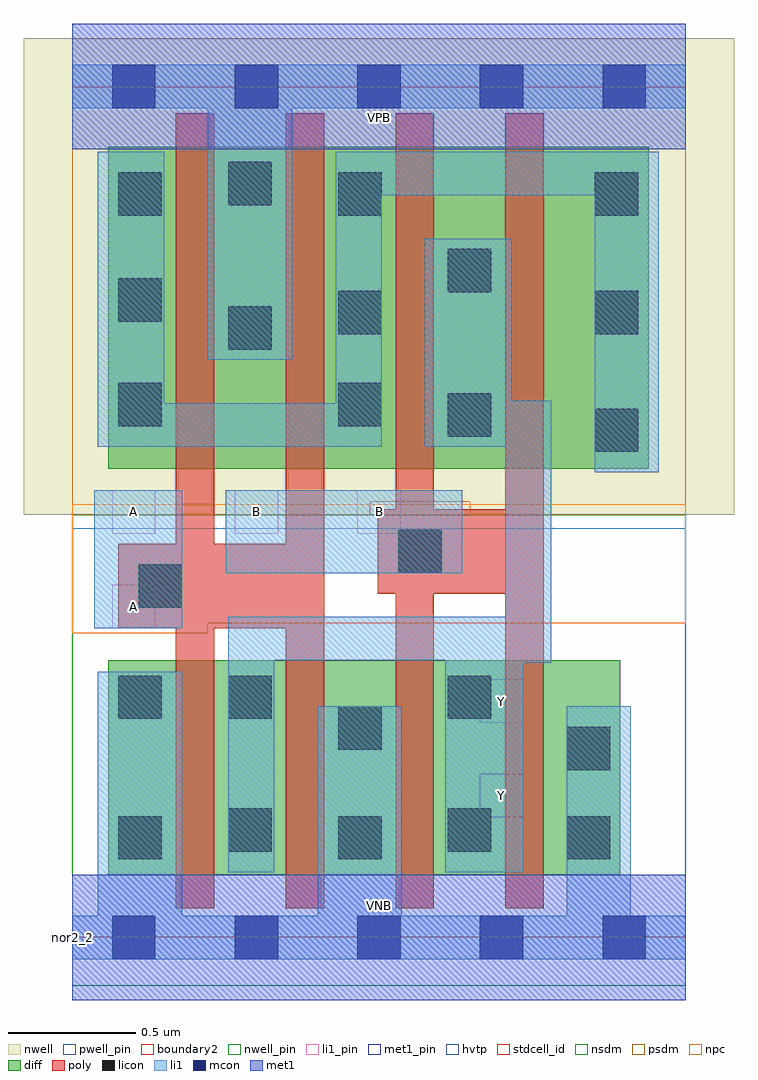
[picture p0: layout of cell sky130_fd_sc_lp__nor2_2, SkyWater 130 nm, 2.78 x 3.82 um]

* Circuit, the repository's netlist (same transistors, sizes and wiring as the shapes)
* Copyright 2020 The SkyWater PDK Authors
*
* Licensed under the Apache License, Version 2.0 (the "License");
* you may not use this file except in compliance with the License.
* You may obtain a copy of the License at
*
*     https://www.apache.org/licenses/LICENSE-2.0
*
* Unless required by applicable law or agreed to in writing, software
* distributed under the License is distributed on an "AS IS" BASIS,
* WITHOUT WARRANTIES OR CONDITIONS OF ANY KIND, either express or implied.
* See the License for the specific language governing permissions and
* limitations under the License.
*
* SPDX-License-Identifier: Apache-2.0

.SUBCKT sky130_fd_sc_lp__nor2_2 A B VGND VNB VPB VPWR Y
*.PININFO A:I B:I VGND:I VNB:I VPB:I VPWR:I Y:O
MMP0 VPWR A sndPA VPB sky130_fd_pr__pfet_01v8_hvt m=2 w=1.26U l=0.15U mult=1 sa=0.265
+ sb=0.265 sd=0.28 area=0.063 perim=1.14
MMP1 sndPA B Y VPB sky130_fd_pr__pfet_01v8_hvt m=2 w=1.26U l=0.15U mult=1 sa=0.265
+ sb=0.265 sd=0.28 area=0.063 perim=1.14
MMN0 Y A VGND VNB sky130_fd_pr__nfet_01v8 m=2 w=0.84U l=0.15U mult=1 sa=0.265 sb=0.265
+ sd=0.28 area=0.063 perim=1.14
MMN1 Y B VGND VNB sky130_fd_pr__nfet_01v8 m=2 w=0.84U l=0.15U mult=1 sa=0.265 sb=0.265
+ sd=0.28 area=0.063 perim=1.14
.ENDS sky130_fd_sc_lp__nor2_2

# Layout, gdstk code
import gdstk
lib = gdstk.Library(unit=1e-6, precision=1e-09)
def R(c, l, rs):  # rectangles x0, y0, x1, y1
    for r in rs: c.add(gdstk.rectangle(r[:2], r[2:], *l))
def A(c, l, x, y, w, h, nx, ny, dx, dy):  # array of equal rectangles
    R(c, l, [(x+i*dx, y+j*dy, x+i*dx+w, y+j*dy+h) for i in range(nx) for j in range(ny)])
def P(c, l, *ps):  # polygons
    for p in ps: c.add(gdstk.Polygon(p, *l))
nwell_pin = (64, 16)
nwell = (64, 20)
diff = (65, 20)
poly = (66, 20)
licon = (66, 44)
li1_pin = (67, 16)
li1 = (67, 20)
mcon = (67, 44)
met1_pin = (68, 16)
met1 = (68, 20)
hvtp = (78, 44)
stdcell_id = (81, 4)
nsdm = (93, 44)
psdm = (94, 20)
npc = (95, 20)
pwell_pin = (122, 16)
boundary2 = (236, 0)

sky130_fd_sc_lp__nor2_2 = lib.new_cell('sky130_fd_sc_lp__nor2_2')
R(sky130_fd_sc_lp__nor2_2, nwell_pin, [(0,3.085,2.4,3.33)])
R(sky130_fd_sc_lp__nor2_2, nwell, [(-0.19,1.655,2.59,3.52)])
R(sky130_fd_sc_lp__nor2_2, diff, [(0.14,0.245,2.145,1.085), (0.14,1.835,2.255,3.095)])
P(sky130_fd_sc_lp__nor2_2, poly, [(0.985,3.225),(0.835,3.225),(0.835,1.54),(0.555,1.54),(0.555,3.225),(0.405,3.225),(0.405,1.54),(0.18,1.54),(0.18,1.21),(0.405,1.21),(0.405,0.115),(0.555,0.115),(0.555,1.21),(0.835,1.21),(0.835,0.115),(0.985,0.115)],
  [(1.845,3.225),(1.695,3.225),(1.695,1.675),(1.415,1.675),(1.415,3.225),(1.265,3.225),(1.265,1.675),(1.195,1.675),(1.195,1.345),(1.265,1.345),(1.265,0.115),(1.415,0.115),(1.415,1.345),(1.695,1.345),(1.695,0.115),(1.845,0.115)])
R(sky130_fd_sc_lp__nor2_2, licon, [(0.18,0.305,0.35,0.475), (1.04,0.305,1.21,0.475), (1.935,0.305,2.105,0.475), (0.61,0.335,0.78,0.505), (1.47,0.335,1.64,0.505), (1.935,0.655,2.105,0.825), (1.04,0.735,1.21,0.905), (0.18,0.855,0.35,1.025), (0.61,0.855,0.78,1.025), (1.47,0.855,1.64,1.025), (0.26,1.29,0.43,1.46), (1.275,1.425,1.445,1.595), (2.045,1.9,2.215,2.07), (1.47,1.96,1.64,2.13), (0.18,2,0.35,2.17), (1.04,2,1.21,2.17), (0.61,2.3,0.78,2.47), (1.04,2.36,1.21,2.53), (2.045,2.36,2.215,2.53), (0.18,2.41,0.35,2.58), (1.47,2.525,1.64,2.695), (0.18,2.825,0.35,2.995), (1.04,2.825,1.21,2.995), (2.045,2.825,2.215,2.995), (0.61,2.865,0.78,3.035)])
A(sky130_fd_sc_lp__nor2_2, li1_pin, 0.155, 1.58, 0.17, 0.17, 3, 1, 0.48, 0)
R(sky130_fd_sc_lp__nor2_2, li1_pin, [(1.595,0.47,1.765,0.64), (1.595,0.84,1.765,1.01), (0.155,1.21,0.325,1.38)])
R(sky130_fd_sc_lp__nor2_2, li1, [(0.085,1.21,0.43,1.75), (0.6,1.425,1.525,1.75)])
P(sky130_fd_sc_lp__nor2_2, li1, [(0.53,2.26),(0.53,3.245),(0,3.245),(0,3.415),(2.4,3.415),(2.4,3.245),(0.86,3.245),(0.86,2.26)],
  [(1.935,0.085),(1.935,0.905),(2.185,0.905),(2.185,0.085),(2.4,0.085),(2.4,-0.085),(0,-0.085),(0,0.085),(0.1,0.085),(0.1,1.04),(0.43,1.04),(0.43,0.085),(0.96,0.085),(0.96,0.905),(1.29,0.905),(1.29,0.085)],
  [(1.46,0.255),(1.46,1.085),(0.79,1.085),(0.79,0.255),(0.61,0.255),(0.61,1.255),(1.695,1.255),(1.695,1.92),(1.38,1.92),(1.38,2.735),(1.72,2.735),(1.72,2.1),(1.875,2.1),(1.875,1.075),(1.765,1.075),(1.765,0.255)],
  [(2.045,2.905),(1.21,2.905),(1.21,1.92),(0.1,1.92),(0.1,3.075),(0.36,3.075),(0.36,2.09),(1.03,2.09),(1.03,3.075),(2.295,3.075),(2.295,1.82),(2.045,1.82)])
A(sky130_fd_sc_lp__nor2_2, mcon, 0.155, -0.085, 0.17, 0.17, 5, 2, 0.48, 3.33)
R(sky130_fd_sc_lp__nor2_2, met1_pin, [(0,0,2.4,0.245), (0,3.085,2.4,3.33)])
R(sky130_fd_sc_lp__nor2_2, met1, [(0,-0.245,2.4,0.245), (0,3.085,2.4,3.575)])
R(sky130_fd_sc_lp__nor2_2, hvtp, [(0,1.6,2.4,3.33)])
R(sky130_fd_sc_lp__nor2_2, stdcell_id, [(0,0,2.4,3.33)])
R(sky130_fd_sc_lp__nor2_2, nsdm, [(0,-0.19,2.4,1.655)])
P(sky130_fd_sc_lp__nor2_2, psdm, [(2.4,3.52),(0,3.52),(0,1.655),(1.165,1.655),(1.165,1.705),(1.555,1.705),(1.555,1.655),(2.4,1.655)])
P(sky130_fd_sc_lp__nor2_2, npc, [(2.4,1.695),(0,1.695),(0,1.19),(0.53,1.19),(0.53,1.23),(2.4,1.23)])
R(sky130_fd_sc_lp__nor2_2, pwell_pin, [(0,0,2.4,0.245)])
R(sky130_fd_sc_lp__nor2_2, boundary2, [(0,0,2.4,3.33)])
sky130_fd_sc_lp__nor2_2.add(gdstk.Label('VNB', (1.2,0.123), layer=64, texttype=59))
sky130_fd_sc_lp__nor2_2.add(gdstk.Label('VPB', (1.2,3.208), layer=64, texttype=5))
sky130_fd_sc_lp__nor2_2.add(gdstk.Label('nor2_2', (0,0), layer=83, texttype=44))
sky130_fd_sc_lp__nor2_2.add(gdstk.Label('VPWR', (1.2,3.208), layer=68, texttype=5))
sky130_fd_sc_lp__nor2_2.add(gdstk.Label('VGND', (1.2,0.123), layer=68, texttype=5))
sky130_fd_sc_lp__nor2_2.add(gdstk.Label('Y', (1.68,0.555), layer=67, texttype=5))
sky130_fd_sc_lp__nor2_2.add(gdstk.Label('Y', (1.68,0.925), layer=67, texttype=5))
sky130_fd_sc_lp__nor2_2.add(gdstk.Label('A', (0.24,1.295), layer=67, texttype=5))
sky130_fd_sc_lp__nor2_2.add(gdstk.Label('A', (0.24,1.665), layer=67, texttype=5))
sky130_fd_sc_lp__nor2_2.add(gdstk.Label('B', (0.72,1.665), layer=67, texttype=5))
sky130_fd_sc_lp__nor2_2.add(gdstk.Label('B', (1.2,1.665), layer=67, texttype=5))

lib.write_gds('sky130_fd_sc_lp__nor2_2.gds')
